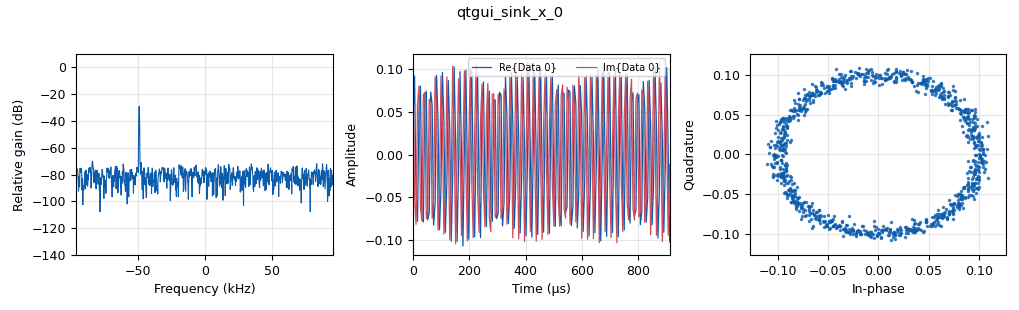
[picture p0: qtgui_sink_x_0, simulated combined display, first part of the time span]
options:
  parameters:
    author: Oliver KI3P
    generate_options: qt_gui
    id: generate_audio_waveforms
    output_language: python
    title: T41 Receive DSP Chain
  states: {}

blocks:
- name: amp
  id: variable
  parameters:
    value: '0.2'
  states: {state: disabled}
- name: amp
  id: variable_qtgui_range
  parameters:
    label: Amplitude
    start: '0'
    step: '0.001'
    stop: '0.2'
    value: '0.1'
  states: {}
- name: freq
  id: variable
  parameters:
    value: '-49e3'
  states: {}
- name: gain
  id: variable_qtgui_range
  parameters:
    start: '0'
    step: '0.001'
    stop: '2'
    value: '1'
  states: {}
- name: noise_amp
  id: variable
  parameters:
    value: '0.005'
  states: {}
- name: phase
  id: variable_qtgui_range
  parameters:
    start: '-0.1'
    step: '0.001'
    stop: '0.1'
    value: '0'
  states: {}
- name: samp_rate
  id: variable
  parameters:
    value: '192000'
  states: {}
- name: analog_noise_source_x_0
  id: analog_noise_source_x
  parameters:
    amp: noise_amp
    noise_type: analog.GR_GAUSSIAN
    seed: '14684613'
    type: float
  states: {}
- name: analog_noise_source_x_0_0
  id: analog_noise_source_x
  parameters:
    amp: noise_amp
    noise_type: analog.GR_GAUSSIAN
    seed: '2326563'
    type: float
  states: {}
- name: analog_sig_source_x_0
  id: analog_sig_source_x
  parameters:
    amp: amp
    freq: freq
    offset: '0'
    phase: '0'
    samp_rate: samp_rate
    type: float
    waveform: analog.GR_COS_WAVE
  states: {}
- name: analog_sig_source_x_0_0
  id: analog_sig_source_x
  parameters:
    amp: amp
    freq: freq
    offset: '0'
    phase: np.pi/2
    samp_rate: samp_rate
    type: float
    waveform: analog.GR_COS_WAVE
  states: {}
- name: audio_sink_0
  id: audio_sink
  parameters:
    device_name: hw:0,0
    num_inputs: '2'
    samp_rate: samp_rate
  states: {state: disabled}
- name: audio_sink_1
  id: audio_sink
  parameters:
    num_inputs: '2'
    samp_rate: samp_rate
  states: {}
- name: audio_source_0
  id: audio_source
  parameters:
    device_name: hw:0,0
    num_outputs: '2'
    samp_rate: samp_rate
  states: {state: disabled}
- name: blocks_add_xx_0
  id: blocks_add_xx
  parameters:
    type: float
  states: {}
- name: blocks_add_xx_0_0
  id: blocks_add_xx
  parameters:
    type: float
  states: {}
- name: blocks_add_xx_1
  id: blocks_add_xx
  parameters:
    type: float
  states: {}
- name: blocks_add_xx_1_0
  id: blocks_add_xx
  parameters:
    type: float
  states: {}
- name: blocks_float_to_complex_0
  id: blocks_float_to_complex
  parameters: {}
  states: {}
- name: blocks_multiply_const_vxx_0
  id: blocks_multiply_const_vxx
  parameters:
    const: '-gain'
    type: float
  states: {}
- name: blocks_multiply_const_vxx_0_0
  id: blocks_multiply_const_vxx
  parameters:
    const: phase
    type: float
  states: {}
- name: blocks_multiply_const_vxx_0_0_0
  id: blocks_multiply_const_vxx
  parameters:
    const: phase
    type: float
  states: {}
- name: blocks_selector_0
  id: blocks_selector
  parameters:
    enabled: 'True'
    input_index: 0 if phase < 0 else 1
    num_inputs: '2'
    num_outputs: '1'
    output_index: '0'
    type: float
  states: {}
- name: blocks_selector_0_0
  id: blocks_selector
  parameters:
    enabled: 'True'
    input_index: 0 if phase < 0 else 1
    num_inputs: '2'
    num_outputs: '1'
    output_index: '0'
    type: float
  states: {}
- name: import_0
  id: import
  parameters:
    imports: import numpy as np
  states: {}
- name: note_0
  id: note
  parameters:
    note: Use "aplay -l" to get the sound card hardware address
  states: {}
- name: note_1
  id: note
  parameters:
    note: L
  states: {}
- name: note_1_0
  id: note
  parameters:
    note: amp*L
  states: {}
- name: note_1_0_0
  id: note
  parameters:
    note: amp*L
  states: {}
- name: note_1_0_0_0
  id: note
  parameters:
    note: amp*L+phs*R
  states: {}
- name: note_1_0_0_0_0
  id: note
  parameters:
    note: amp*L+phs*R
  states: {}
- name: note_1_0_0_1
  id: note
  parameters:
    note: amp*L
  states: {}
- name: note_1_0_1
  id: note
  parameters:
    note: phs*amp*L
  states: {}
- name: note_1_0_1_0
  id: note
  parameters:
    note: R+phs*amp*L
  states: {}
- name: note_1_0_1_0_0
  id: note
  parameters:
    note: R+phs*amp*L
  states: {}
- name: note_1_1
  id: note
  parameters:
    note: R
  states: {}
- name: note_1_1_0
  id: note
  parameters:
    note: phs*R
  states: {}
- name: note_1_1_1
  id: note
  parameters:
    note: R
  states: {}
- name: note_1_1_1_0
  id: note
  parameters:
    note: R
  states: {}
- name: note_1_1_1_0_0
  id: note
  parameters:
    note: 'phs>0:'
  states: {}
- name: note_1_1_1_0_0_0
  id: note
  parameters:
    note: 'phs<0:'
  states: {}
- name: qtgui_sink_x_0
  id: qtgui_sink_x
  parameters:
    bw: samp_rate
    fc: '0'
    fftsize: '1024'
    type: complex
  states: {}

connections:
- [analog_noise_source_x_0, '0', blocks_add_xx_1, '1']
- [analog_noise_source_x_0_0, '0', blocks_add_xx_1_0, '0']
- [analog_sig_source_x_0, '0', audio_sink_0, '0']
- [analog_sig_source_x_0, '0', blocks_add_xx_1_0, '1']
- [analog_sig_source_x_0_0, '0', audio_sink_0, '1']
- [analog_sig_source_x_0_0, '0', blocks_add_xx_1, '0']
- [audio_source_0, '0', blocks_multiply_const_vxx_0, '0']
- [audio_source_0, '1', blocks_add_xx_0_0, '1']
- [audio_source_0, '1', blocks_multiply_const_vxx_0_0, '0']
- [audio_source_0, '1', blocks_selector_0_0, '1']
- [blocks_add_xx_0, '0', blocks_selector_0, '1']
- [blocks_add_xx_0_0, '0', blocks_selector_0_0, '0']
- [blocks_add_xx_1, '0', blocks_add_xx_0_0, '1']
- [blocks_add_xx_1, '0', blocks_multiply_const_vxx_0_0, '0']
- [blocks_add_xx_1, '0', blocks_selector_0_0, '1']
- [blocks_add_xx_1_0, '0', blocks_multiply_const_vxx_0, '0']
- [blocks_float_to_complex_0, '0', qtgui_sink_x_0, '0']
- [blocks_multiply_const_vxx_0, '0', blocks_add_xx_0, '1']
- [blocks_multiply_const_vxx_0, '0', blocks_multiply_const_vxx_0_0_0, '0']
- [blocks_multiply_const_vxx_0, '0', blocks_selector_0, '0']
- [blocks_multiply_const_vxx_0_0, '0', blocks_add_xx_0, '0']
- [blocks_multiply_const_vxx_0_0_0, '0', blocks_add_xx_0_0, '0']
- [blocks_selector_0, '0', audio_sink_1, '0']
- [blocks_selector_0, '0', blocks_float_to_complex_0, '0']
- [blocks_selector_0_0, '0', audio_sink_1, '1']
- [blocks_selector_0_0, '0', blocks_float_to_complex_0, '1']

metadata:
  file_format: 1
